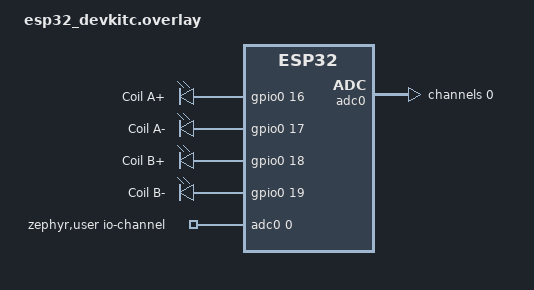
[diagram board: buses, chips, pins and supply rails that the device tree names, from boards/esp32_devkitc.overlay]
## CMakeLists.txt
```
cmake_minimum_required(VERSION 3.20.0)
find_package(Zephyr REQUIRED HINTS $ENV{ZEPHYR_BASE})
project(balanco)

target_sources(app PRIVATE src/main.c)
```

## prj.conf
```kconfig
CONFIG_GPIO=y
CONFIG_SERIAL=y
CONFIG_NEWLIB_LIBC=y
CONFIG_PRINTK=y
CONFIG_ESP32_USE_UNSUPPORTED_REVISION=y

CONFIG_NEWLIB_LIBC=y
CONFIG_LOG=y

CONFIG_TEST_USERSPACE=n
CONFIG_DMA=y
CONFIG_ADC_ESP32_DMA=y
CONFIG_HEAP_MEM_POOL_SIZE=16384

CONFIG_ADC=y
CONFIG_ADC_ASYNC=y
CONFIG_ADC_LOG_LEVEL_INF=y
```

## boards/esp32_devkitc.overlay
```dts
/*
 * Nós para os pinos do motor de passo.
 * Cada nó define uma propriedade 'gpios' que o código C irá ler.
 * Os pinos 16, 17, 18, 19 são exemplos de pinos de saída válidos no ESP32.
 * Verifique o esquemático do seu ESP32 DevKitC para escolher pinos que
 * não estejam em uso.  Os pinos em &gpio1 (GPIO 32-39) possuem restrições
 * e alguns são apenas de entrada.
 */
/ {
	aliases {
		coilaplus = &coil_a_plus_pin;
		coilaminus = &coil_a_minus_pin;
		coilbplus = &coil_b_plus_pin;
		coilbminus = &coil_b_minus_pin;
	};

    motor {
        compatible = "gpio-leds";

        coil_a_plus_pin: pin_a_plus {
		    gpios = <&gpio0 16 GPIO_ACTIVE_HIGH>;
		    label = "Coil A+";
	    };
        coil_a_minus_pin: pin_a_minus {
            gpios = <&gpio0 17 GPIO_ACTIVE_HIGH>;
            label = "Coil A-";
        };

        coil_b_plus_pin: pin_b_plus {
            gpios = <&gpio0 18 GPIO_ACTIVE_HIGH>;
            label = "Coil B+";
        };

        coil_b_minus_pin: pin_b_minus {
            gpios = <&gpio0 19 GPIO_ACTIVE_HIGH>;
            label = "Coil B-";
        };
    };

    zephyr,user {
		io-channels = <&adc0 0>;
	};
};

&adc0 {
    status = "okay";
    #address-cells = <1>;
    #size-cells = <0>;
    
    channel@0 {
        reg = <0>;
        zephyr,gain = "ADC_GAIN_1_4";
        zephyr,reference = "ADC_REF_INTERNAL";
        zephyr,acquisition-time = <ADC_ACQ_TIME_DEFAULT>;
        //zephyr,input-positive = <NRF_SAADC_AIN4>; /* P1.11 */
        zephyr,resolution = <12>;
    };
};
```

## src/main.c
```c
#include <zephyr/kernel.h>
#include <zephyr/device.h>
#include <zephyr/drivers/gpio.h>
#include <zephyr/drivers/adc.h>
#include <zephyr/logging/log.h>
#include <zephyr/devicetree.h>
#include <inttypes.h>

LOG_MODULE_REGISTER(app, LOG_LEVEL_INF);

// ======== CONFIGURAÇÃO DO ADC ========

#if !DT_NODE_HAS_STATUS(DT_PATH(zephyr_user), okay)
#error "No suitable devicetree node found for ADC."
#endif

#define ADC_CHANNEL_NODE DT_PATH(zephyr_user)
static const struct adc_dt_spec adc_channel = ADC_DT_SPEC_GET_BY_IDX(ADC_CHANNEL_NODE, 0);

// Limites do ADC (0-4095) e limites reais do sensor (130-2900)
#define ADC_INPUT_MIN 130
#define ADC_INPUT_MAX 2370
#define ADC_INPUT_RANGE (ADC_INPUT_MAX - ADC_INPUT_MIN)

#define REMAP_MAX 6000
#define REMAP_MIN 3000
#define REMAP_SPN (REMAP_MAX - REMAP_MIN)

static int16_t sample_buffer;
static int32_t remap = REMAP_MIN;

void adc_read_thread(void *p1, void *p2, void *p3)
{
    ARG_UNUSED(p1);
    ARG_UNUSED(p2);
    ARG_UNUSED(p3);

    if (!device_is_ready(adc_channel.dev)) {
        LOG_ERR("ADC device not ready");
        return;
    }

    struct adc_channel_cfg cfg = {
        .gain = ADC_GAIN_1_4,
        .reference = ADC_REF_INTERNAL,
        .acquisition_time = ADC_ACQ_TIME_DEFAULT,
        .channel_id = adc_channel.channel_id,
        .differential = 0,
    };

    if (adc_channel_setup(adc_channel.dev, &cfg) < 0) {
        LOG_ERR("ADC setup failed");
        return;
    }

    const struct adc_sequence sequence = {
		.options     = NULL,
		.channels    = BIT(adc_channel.channel_id),
		.buffer      = &sample_buffer,
		.buffer_size = sizeof(sample_buffer),
		.resolution  = 12,
	};
    
    while (1) {
        int err = adc_read(adc_channel.dev, &sequence);
        if (err) LOG_ERR("ADC read error: %d", err);
        else {
            int32_t clamped_value = sample_buffer;

            // 1. Limita (clampa) o valor lido ao intervalo útil definido
            if (clamped_value < ADC_INPUT_MIN) {
                clamped_value = ADC_INPUT_MIN;
            }
            if (clamped_value > ADC_INPUT_MAX) {
                clamped_value = ADC_INPUT_MAX;
            }

            // 2. Remapeia o valor limitado (ex: 130-2900) para o percentual (1-100%)
            int32_t percentage = ((clamped_value - ADC_INPUT_MIN) * 100) / ADC_INPUT_RANGE;
            remap = REMAP_MIN + (percentage * REMAP_SPN) / 100;
            LOG_INF("Leitura ADC: %d (bruto) -> %d%%, valor remapeado: %d", sample_buffer, percentage, remap);
        }
        k_msleep(100);
    }
}




// ======== CONFIGURAÇÃO DO MOTOR ========

#define APLUS   DT_ALIAS(coilaplus)
#define AMINUS  DT_ALIAS(coilaminus)
#define BPLUS   DT_ALIAS(coilbplus)
#define BMINUS  DT_ALIAS(coilbminus)

static const struct gpio_dt_spec coil_a_plus  = GPIO_DT_SPEC_GET(APLUS, gpios);
static const struct gpio_dt_spec coil_a_minus = GPIO_DT_SPEC_GET(AMINUS, gpios);
static const struct gpio_dt_spec coil_b_plus  = GPIO_DT_SPEC_GET(BPLUS, gpios);
static const struct gpio_dt_spec coil_b_minus = GPIO_DT_SPEC_GET(BMINUS, gpios);

//#define STEP_DELAY_MS K_USEC(2000)

static inline void step_forward(void)
{
    gpio_pin_set_dt(&coil_a_plus, 1);
    gpio_pin_set_dt(&coil_a_minus, 0);
    gpio_pin_set_dt(&coil_b_plus, 1);
    gpio_pin_set_dt(&coil_b_minus, 0);
    k_sleep(K_USEC(remap));

    gpio_pin_set_dt(&coil_a_plus, 0);
    gpio_pin_set_dt(&coil_a_minus, 1);
    gpio_pin_set_dt(&coil_b_plus, 1);
    gpio_pin_set_dt(&coil_b_minus, 0);
    k_sleep(K_USEC(remap));

    gpio_pin_set_dt(&coil_a_plus, 0);
    gpio_pin_set_dt(&coil_a_minus, 1);
    gpio_pin_set_dt(&coil_b_plus, 0);
    gpio_pin_set_dt(&coil_b_minus, 1);
    k_sleep(K_USEC(remap));

    gpio_pin_set_dt(&coil_a_plus, 1);
    gpio_pin_set_dt(&coil_a_minus, 0);
    gpio_pin_set_dt(&coil_b_plus, 0);
    gpio_pin_set_dt(&coil_b_minus, 1);
    k_sleep(K_USEC(remap));
}

static inline void step_backward(void)
{
    gpio_pin_set_dt(&coil_a_plus, 1);
    gpio_pin_set_dt(&coil_a_minus, 0);
    gpio_pin_set_dt(&coil_b_plus, 0);
    gpio_pin_set_dt(&coil_b_minus, 1);
    k_sleep(K_USEC(remap));

    gpio_pin_set_dt(&coil_a_plus, 0);
    gpio_pin_set_dt(&coil_a_minus, 1);
    gpio_pin_set_dt(&coil_b_plus, 0);
    gpio_pin_set_dt(&coil_b_minus, 1);
    k_sleep(K_USEC(remap));

    gpio_pin_set_dt(&coil_a_plus, 0);
    gpio_pin_set_dt(&coil_a_minus, 1);
    gpio_pin_set_dt(&coil_b_plus, 1);
    gpio_pin_set_dt(&coil_b_minus, 0);
    k_sleep(K_USEC(remap));

    gpio_pin_set_dt(&coil_a_plus, 1);
    gpio_pin_set_dt(&coil_a_minus, 0);
    gpio_pin_set_dt(&coil_b_plus, 1);
    gpio_pin_set_dt(&coil_b_minus, 0);
    k_sleep(K_USEC(remap));
}

static inline void step_off(void)
{
    gpio_pin_set_dt(&coil_a_plus, 0);
    gpio_pin_set_dt(&coil_a_minus, 0);
    gpio_pin_set_dt(&coil_b_plus, 0);
    gpio_pin_set_dt(&coil_b_minus, 0);
}

void motor_thread(void *p1, void *p2, void *p3)
{
    ARG_UNUSED(p1);
    ARG_UNUSED(p2);
    ARG_UNUSED(p3);

    while (1) {
        //printk("Girando no sentido horário...\n");
        //for (int i = 0; i < 1000; i++) step_forward();
        //step_off();
        //k_sleep(K_SECONDS(2));

        printk("Girando no sentido anti-horário...\n");
        //for (int i = 0; i < 1000; i++)
        step_backward();
        //step_off();
        //k_sleep(K_SECONDS(2));
    }
}

// ======== MAIN ========

#define MOTOR_STACK 16384
#define ADC_STACK   4096

K_THREAD_STACK_DEFINE(motor_stack, MOTOR_STACK);
K_THREAD_STACK_DEFINE(adc_stack, ADC_STACK);

struct k_thread motor_data;
struct k_thread adc_data;

int main(void)
{
    printk("Teste de Motor de Passo Bipolar + ADC com Zephyr\n");

    const struct gpio_dt_spec *coils[] = {
        &coil_a_plus, &coil_a_minus, &coil_b_plus, &coil_b_minus
    };

    for (int i = 0; i < ARRAY_SIZE(coils); i++) {
        if (!device_is_ready(coils[i]->port)) {
            printk("Erro: GPIO %s não está pronto!\n", coils[i]->port->name);
            return 1;
        }
        int ret = gpio_pin_configure_dt(coils[i], GPIO_OUTPUT_INACTIVE);
        if (ret < 0) {
            printk("Erro %d ao configurar pino %d\n", ret, coils[i]->pin);
            return 1;
        }
    }

    k_thread_create(&motor_data, motor_stack, K_THREAD_STACK_SIZEOF(motor_stack),
                    motor_thread, NULL, NULL, NULL, 5, 0, K_NO_WAIT);

    k_thread_create(&adc_data, adc_stack, K_THREAD_STACK_SIZEOF(adc_stack),
                    adc_read_thread, NULL, NULL, NULL, 7, 0, K_MSEC(100));
    
    return 0;
}
```
